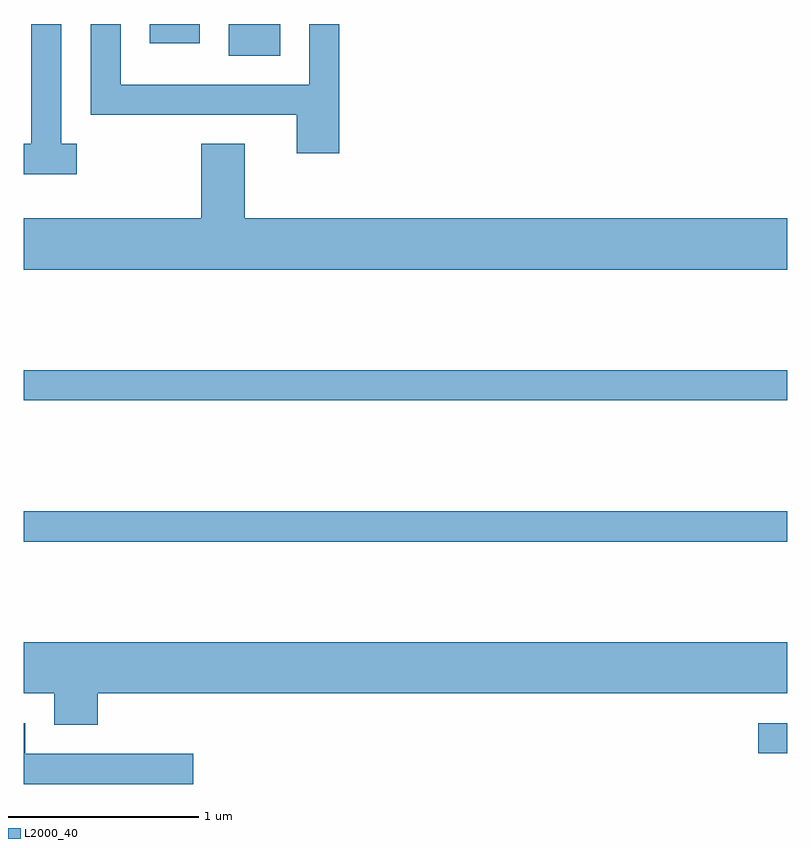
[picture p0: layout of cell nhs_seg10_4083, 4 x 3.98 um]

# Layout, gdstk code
import gdstk
lib = gdstk.Library(unit=1e-6, precision=1e-09)
def R(c, l, rs):  # rectangles x0, y0, x1, y1
    for r in rs: c.add(gdstk.rectangle(r[:2], r[2:], *l))
def P(c, l, *ps):  # polygons
    for p in ps: c.add(gdstk.Polygon(p, *l))
L2000_40 = (2000, 40)

nhs_seg10_4083 = lib.new_cell('nhs_seg10_4083')
R(nhs_seg10_4083, L2000_40, [(309.458,2124.701,309.611,2124.859), (305.611,2125.811,309.611,2125.969), (305.611,2126.551,309.611,2126.709), (306.686,2128.356,306.954,2128.522), (306.271,2128.421,306.534,2128.522)])
P(nhs_seg10_4083, L2000_40, [(307.264,2128.522),(307.106,2128.522),(307.106,2128.204),(306.119,2128.204),(306.119,2128.522),(305.961,2128.522),(305.961,2128.046),(307.041,2128.046),(307.041,2127.846),(307.264,2127.846)],
  [(305.888,2127.894),(305.809,2127.894),(305.809,2128.522),(305.651,2128.522),(305.651,2127.894),(305.611,2127.894),(305.611,2127.736),(305.888,2127.736)],
  [(309.611,2127.504),(306.769,2127.504),(306.769,2127.894),(306.541,2127.894),(306.541,2127.504),(305.611,2127.504),(305.611,2127.236),(309.611,2127.236)],
  [(305.999,2125.016),(309.611,2125.016),(309.611,2125.284),(305.611,2125.284),(305.611,2125.016),(305.771,2125.016),(305.771,2124.851),(305.999,2124.851)],
  [(306.498,2124.699),(305.619,2124.699),(305.619,2124.859),(305.611,2124.859),(305.611,2124.541),(306.498,2124.541)])

lib.write_gds('nhs_seg10_4083.gds')
